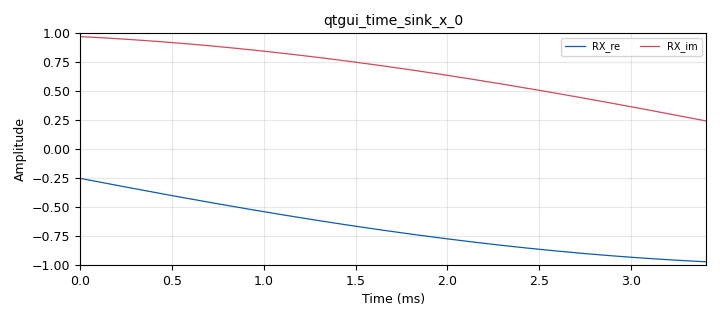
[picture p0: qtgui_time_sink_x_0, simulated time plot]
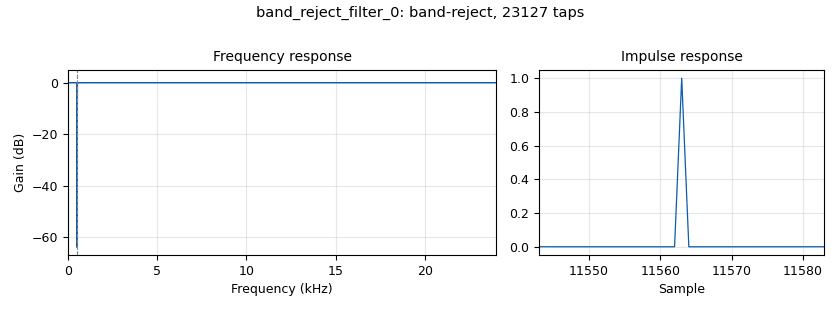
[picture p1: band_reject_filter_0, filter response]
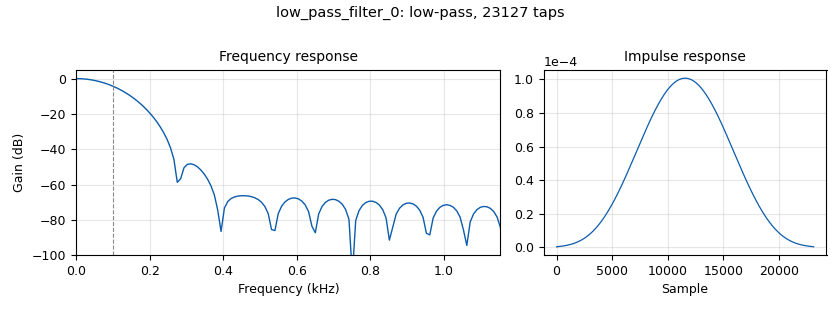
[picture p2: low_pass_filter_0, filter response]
options:
  parameters:
    generate_options: qt_gui
    id: plutoRADAR
    output_language: python
    title: plutoRADAR
  states: {}

blocks:
- name: audio_gain
  id: variable_qtgui_range
  parameters:
    start: '0'
    step: '1'
    stop: '100'
    value: '1'
  states: {}
- name: rx_gain
  id: variable_qtgui_range
  parameters:
    start: '0'
    step: '1'
    stop: '70'
    value: '64'
  states: {}
- name: samp_rate
  id: variable
  parameters:
    value: 2.4e6
  states: {}
- name: tono_frec
  id: variable_qtgui_range
  parameters:
    start: '50'
    step: '1'
    stop: 2e3
    value: '50'
  states: {}
- name: tx_atenuacion
  id: variable_qtgui_range
  parameters:
    start: '0'
    step: '1'
    stop: '100'
    value: '10'
  states: {}
- name: analog_sig_source_x_0
  id: analog_sig_source_x
  parameters:
    amp: '1'
    freq: tono_frec
    offset: '0'
    phase: '0'
    samp_rate: samp_rate
    type: complex
    waveform: analog.GR_COS_WAVE
  states: {}
- name: audio_sink_0
  id: audio_sink
  parameters:
    samp_rate: '48000'
  states: {}
- name: band_reject_filter_0
  id: band_reject_filter
  parameters:
    decim: '1'
    gain: '1'
    high_cutoff_freq: '505'
    low_cutoff_freq: '495'
    samp_rate: samp_rate/50
    type: fir_filter_ccf
    width: '5'
    win: window.WIN_HAMMING
  states: {}
- name: blocks_complex_to_real_0
  id: blocks_complex_to_real
  parameters: {}
  states: {}
- name: blocks_keep_one_in_n_0
  id: blocks_keep_one_in_n
  parameters:
    n: '50'
    type: complex
  states: {}
- name: blocks_multiply_const_vxx_0
  id: blocks_multiply_const_vxx
  parameters:
    const: audio_gain
    type: complex
  states: {}
- name: iio_pluto_sink_0
  id: iio_pluto_sink
  parameters:
    attenuation1: tx_atenuacion
    bandwidth: '20000000'
    buffer_size: '32768'
    cyclic: 'False'
    filter_source: '''Auto'''
    frequency: '2400000000'
    samplerate: int(samp_rate)
    type: fc32
  states: {}
- name: iio_pluto_source_0
  id: iio_pluto_source
  parameters:
    bandwidth: '20000000'
    bbdc: 'True'
    buffer_size: '32768'
    filter_source: '''Auto'''
    frequency: '2400000000'
    gain1: '''manual'''
    manual_gain1: rx_gain
    quadrature: 'True'
    rfdc: 'True'
    samplerate: int(samp_rate)
    type: fc32
    uri: 192.168.2.1
  states: {}
- name: low_pass_filter_0
  id: low_pass_filter
  parameters:
    cutoff_freq: tono_frec*2
    decim: '50'
    gain: '1'
    samp_rate: samp_rate
    type: fir_filter_ccf
    width: '250'
    win: window.WIN_HAMMING
  states: {}
- name: qtgui_freq_sink_x_0
  id: qtgui_freq_sink_x
  parameters:
    bw: samp_rate
    fc: '0'
    fftsize: 1024*8
    label1: RX
    type: complex
  states: {}
- name: qtgui_freq_sink_x_1
  id: qtgui_freq_sink_x
  parameters:
    bw: samp_rate/50
    fc: '0'
    fftsize: 1024*8
    label1: LPF
    type: complex
  states: {}
- name: qtgui_freq_sink_x_2
  id: qtgui_freq_sink_x
  parameters:
    bw: samp_rate/50
    fc: '0'
    fftsize: 1024*8
    label1: BR
    type: complex
  states: {}
- name: qtgui_time_sink_x_0
  id: qtgui_time_sink_x
  parameters:
    label1: RX_re
    label2: RX_im
    size: 1024*8
    srate: samp_rate
    style1: '3'
    type: complex
  states: {}
- name: qtgui_time_sink_x_1
  id: qtgui_time_sink_x
  parameters:
    size: '1024'
    srate: samp_rate
    type: complex
  states: {}
- name: qtgui_time_sink_x_2
  id: qtgui_time_sink_x
  parameters:
    label1: LPF_re
    label2: LPF_im
    size: '1024'
    srate: samp_rate/50
    style1: '2'
    type: complex
  states: {}
- name: qtgui_time_sink_x_3
  id: qtgui_time_sink_x
  parameters:
    label1: BR_re
    label2: BR_im
    size: '1024'
    srate: samp_rate/50
    type: complex
  states: {}
- name: zeromq_pub_sink_0
  id: zeromq_pub_sink
  parameters:
    address: tcp://127.0.0.1:5557
    timeout: '100'
    type: complex
  states: {}
- name: zeromq_pub_sink_0_0
  id: zeromq_pub_sink
  parameters:
    address: tcp://127.0.0.1:5558
    timeout: '100'
    type: complex
  states: {}
- name: zeromq_pub_sink_1
  id: zeromq_pub_sink
  parameters:
    address: tcp://127.0.0.1:5559
    timeout: '100'
    type: complex
  states: {}

connections:
- [analog_sig_source_x_0, '0', blocks_keep_one_in_n_0, '0']
- [analog_sig_source_x_0, '0', iio_pluto_sink_0, '0']
- [analog_sig_source_x_0, '0', qtgui_time_sink_x_0, '0']
- [band_reject_filter_0, '0', blocks_multiply_const_vxx_0, '0']
- [blocks_complex_to_real_0, '0', audio_sink_0, '0']
- [blocks_keep_one_in_n_0, '0', zeromq_pub_sink_0_0, '0']
- [blocks_multiply_const_vxx_0, '0', blocks_complex_to_real_0, '0']
- [blocks_multiply_const_vxx_0, '0', qtgui_freq_sink_x_2, '0']
- [blocks_multiply_const_vxx_0, '0', qtgui_time_sink_x_3, '0']
- [blocks_multiply_const_vxx_0, '0', zeromq_pub_sink_1, '0']
- [iio_pluto_source_0, '0', low_pass_filter_0, '0']
- [iio_pluto_source_0, '0', qtgui_freq_sink_x_0, '0']
- [iio_pluto_source_0, '0', qtgui_time_sink_x_1, '0']
- [low_pass_filter_0, '0', band_reject_filter_0, '0']
- [low_pass_filter_0, '0', qtgui_freq_sink_x_1, '0']
- [low_pass_filter_0, '0', qtgui_time_sink_x_2, '0']
- [low_pass_filter_0, '0', zeromq_pub_sink_0, '0']

metadata:
  file_format: 1
  grc_version: 3.10.12.0
